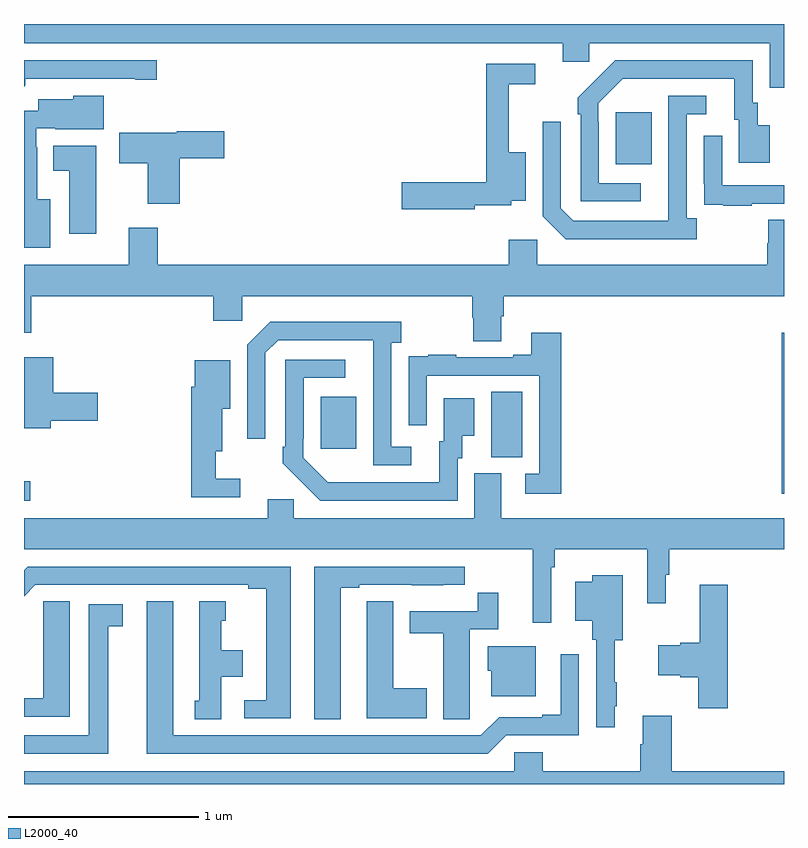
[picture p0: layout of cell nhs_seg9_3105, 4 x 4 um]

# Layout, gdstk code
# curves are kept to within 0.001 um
import gdstk
lib = gdstk.Library(unit=1e-6, precision=1e-09)
def R(c, l, rs):  # rectangles x0, y0, x1, y1
    for r in rs: c.add(gdstk.rectangle(r[:2], r[2:], *l))
def P(c, l, *ps):  # polygons
    for p in ps: c.add(gdstk.Polygon(p, *l))
L2000_40 = (2000, 40)

nhs_seg9_3105 = lib.new_cell('nhs_seg9_3105')
R(nhs_seg9_3105, L2000_40, [(289,1213.992,289.033,1214.093), (292.987,1214.028,293,1214.875), (291.458,1214.221,291.622,1214.564), (290.561,1214.265,290.749,1214.539), (292.115,1215.761,292.303,1216.036)])
P(nhs_seg9_3105, L2000_40, [(293,1216.5),(289,1216.5),(289,1216.4),(291.836,1216.4),(291.836,1216.302),(291.975,1216.302),(291.975,1216.4),(292.925,1216.4),(292.925,1216.165),(293,1216.165)],
  [(292.246,1215.663),(292.026,1215.663),(292.026,1215.983),(292.023,1215.983),(292.023,1216.083),(292.152,1216.212),(292.739,1216.212),(292.739,1215.996),(292.763,1215.996),(292.763,1215.771),(292.924,1215.771),(292.924,1215.967),(292.861,1215.967),(292.861,1216.086),(292.836,1216.086),(292.836,1216.308),(292.112,1216.308),(291.915,1216.113),(291.915,1216.025),(291.93,1216.025),(291.93,1215.567),(292.246,1215.567)],
  [(289.007,1216.178),(289.007,1216.212),(289.586,1216.212),(289.586,1216.207),(289.699,1216.207),(289.699,1216.308),(289,1216.308),(289,1216.171)],
  [(291.372,1215.545),(291.564,1215.545),(291.564,1215.569),(291.64,1215.569),(291.64,1215.826),(291.551,1215.826),(291.551,1216.182),(291.691,1216.182),(291.691,1216.29),(291.433,1216.29),(291.433,1215.668),(290.988,1215.668),(290.988,1215.526),(291.372,1215.526)],
  [(289.138,1215.577),(289.069,1215.577),(289.069,1215.851),(289.065,1215.851),(289.065,1215.951),(289.165,1215.951),(289.165,1215.947),(289.42,1215.947),(289.42,1216.123),(289.26,1216.123),(289.26,1216.105),(289.076,1216.105),(289.076,1216.044),(289.002,1216.044),(289,1216.042),(289,1215.323),(289.138,1215.323)],
  [(292.54,1215.478),(292.488,1215.478),(292.488,1216.026),(292.591,1216.026),(292.591,1216.122),(292.392,1216.122),(292.391,1215.465),(291.891,1215.465),(291.825,1215.531),(291.825,1215.985),(291.729,1215.985),(291.729,1215.489),(291.85,1215.368),(292.54,1215.368)],
  [(289.82,1215.794),(290.053,1215.794),(290.053,1215.936),(289.803,1215.936),(289.803,1215.928),(289.5,1215.928),(289.5,1215.766),(289.652,1215.766),(289.652,1215.555),(289.82,1215.555)],
  [(292.829,1215.555),(293,1215.555),(293,1215.651),(292.674,1215.651),(292.674,1215.913),(292.578,1215.913),(292.578,1215.658),(292.579,1215.658),(292.579,1215.549),(292.681,1215.549),(292.681,1215.543),(292.829,1215.543)],
  [(289.381,1215.859),(289.154,1215.859),(289.154,1215.728),(289.238,1215.728),(289.238,1215.396),(289.381,1215.396)],
  [(289.703,1215.427),(289.55,1215.427),(289.55,1215.232),(289,1215.232),(289,1214.874),(289.037,1214.874),(289.037,1215.068),(289.997,1215.068),(289.997,1214.937),(290.148,1214.937),(290.148,1215.068),(291.359,1215.068),(291.359,1214.955),(291.364,1214.955),(291.364,1214.83),(291.511,1214.83),(291.511,1214.962),(291.524,1214.962),(291.524,1215.068),(293,1215.068),(293,1215.47),(292.918,1215.47),(292.918,1215.345),(292.913,1215.345),(292.913,1215.232),(291.702,1215.232),(291.702,1215.364),(291.551,1215.364),(291.551,1215.232),(289.703,1215.232)],
  [(291.037,1214.274),(290.934,1214.274),(290.934,1214.822),(290.986,1214.822),(290.986,1214.932),(290.296,1214.932),(290.175,1214.811),(290.175,1214.316),(290.271,1214.316),(290.271,1214.769),(290.337,1214.835),(290.837,1214.835),(290.838,1214.178),(291.037,1214.178)],
  [(291.827,1214.875),(291.671,1214.875),(291.671,1214.758),(291.575,1214.758),(291.575,1214.745),(291.275,1214.745),(291.275,1214.758),(291.127,1214.758),(291.127,1214.751),(291.025,1214.751),(291.025,1214.642),(291.024,1214.642),(291.024,1214.388),(291.12,1214.388),(291.12,1214.649),(291.711,1214.649),(291.711,1214.133),(291.639,1214.133),(291.639,1214.028),(291.827,1214.028)],
  [(289.141,1214.411),(289.387,1214.411),(289.387,1214.558),(289.154,1214.558),(289.154,1214.746),(289,1214.746),(289,1214.372),(289.141,1214.372)],
  [(291.282,1214.214),(291.307,1214.214),(291.307,1214.333),(291.37,1214.333),(291.37,1214.53),(291.209,1214.53),(291.209,1214.304),(291.185,1214.304),(291.185,1214.088),(290.598,1214.089),(290.469,1214.217),(290.469,1214.317),(290.472,1214.317),(290.472,1214.637),(290.692,1214.637),(290.692,1214.733),(290.376,1214.733),(290.376,1214.275),(290.361,1214.275),(290.361,1214.187),(290.558,1213.992),(291.282,1213.992)],
  [(290.137,1214.107),(290.008,1214.107),(290.008,1214.252),(290.044,1214.252),(290.044,1214.474),(290.086,1214.474),(290.086,1214.731),(289.898,1214.731),(289.898,1214.592),(289.879,1214.592),(289.879,1214.01),(290.137,1214.01)],
  [(291.774,1213.64),(291.794,1213.64),(291.794,1213.736),(292.28,1213.736),(292.28,1213.452),(292.378,1213.452),(292.378,1213.602),(292.397,1213.602),(292.397,1213.736),(293,1213.736),(293,1213.9),(291.511,1213.9),(291.511,1214.136),(291.371,1214.136),(291.371,1213.9),(290.421,1213.9),(290.421,1213.998),(290.282,1213.998),(290.282,1213.9),(289,1213.9),(289,1213.736),(291.677,1213.736),(291.677,1213.35),(291.774,1213.35)],
  [(290.668,1213.533),(290.764,1213.533),(290.764,1213.548),(291.04,1213.548),(291.04,1213.547),(291.206,1213.547),(291.206,1213.548),(291.319,1213.548),(291.319,1213.644),(290.528,1213.644),(290.528,1212.841),(290.668,1212.841)],
  [(290.404,1213.644),(289.019,1213.644),(289,1213.625),(289,1213.489),(289.059,1213.548),(290.18,1213.548),(290.18,1213.528),(290.276,1213.528),(290.276,1212.942),(290.16,1212.942),(290.16,1212.846),(290.404,1212.846)],
  [(292.108,1212.91),(292.12,1212.91),(292.12,1213.035),(292.11,1213.035),(292.11,1213.256),(292.15,1213.256),(292.15,1213.6),(291.992,1213.6),(291.992,1213.564),(291.902,1213.564),(291.902,1213.358),(291.992,1213.358),(291.992,1213.26),(292.011,1213.26),(292.011,1212.798),(292.108,1212.798)],
  [(292.703,1213.549),(292.556,1213.549),(292.556,1213.244),(292.455,1213.244),(292.455,1213.231),(292.338,1213.231),(292.338,1213.073),(292.455,1213.073),(292.455,1213.061),(292.549,1213.061),(292.549,1212.9),(292.703,1212.9)],
  [(291.345,1212.952),(291.346,1212.952),(291.346,1213.314),(291.497,1213.314),(291.497,1213.507),(291.388,1213.507),(291.388,1213.41),(291.029,1213.41),(291.029,1213.294),(291.206,1213.294),(291.206,1212.841),(291.345,1212.841)],
  [(291.121,1213.005),(290.944,1213.005),(290.944,1213.463),(290.805,1213.463),(290.805,1213.355),(290.804,1213.355),(290.804,1212.845),(291.121,1212.845)],
  [(289.24,1213.463),(289.101,1213.463),(289.101,1213.355),(289.1,1213.355),(289.1,1212.952),(289,1212.952),(289,1212.855),(289.24,1212.855)],
  [(291.537,1212.756),(291.921,1212.756),(291.921,1213.183),(291.824,1213.183),(291.824,1212.865),(291.728,1212.865),(291.728,1212.852),(291.501,1212.852),(291.405,1212.756),(289.786,1212.756),(289.786,1213.462),(289.646,1213.462),(289.646,1212.66),(291.441,1212.66)],
  [(290.038,1213.064),(290.152,1213.064),(290.152,1213.204),(290.038,1213.204),(290.038,1213.359),(290.062,1213.359),(290.062,1213.462),(289.922,1213.462),(289.922,1212.939),(289.898,1212.939),(289.898,1212.841),(290.038,1212.841)],
  [(289.444,1213.33),(289.519,1213.33),(289.519,1213.446),(289.34,1213.446),(289.34,1212.756),(289,1212.756),(289,1212.66),(289.444,1212.66)],
  [(291.694,1213.225),(291.44,1213.225),(291.44,1213.095),(291.458,1213.095),(291.458,1212.962),(291.694,1212.962)],
  [(293,1212.568),(292.409,1212.568),(292.409,1212.859),(292.256,1212.859),(292.256,1212.71),(292.244,1212.71),(292.244,1212.568),(291.731,1212.568),(291.731,1212.666),(291.579,1212.666),(291.579,1212.568),(289,1212.568),(289,1212.5),(293,1212.5)])

lib.write_gds('nhs_seg9_3105.gds')
